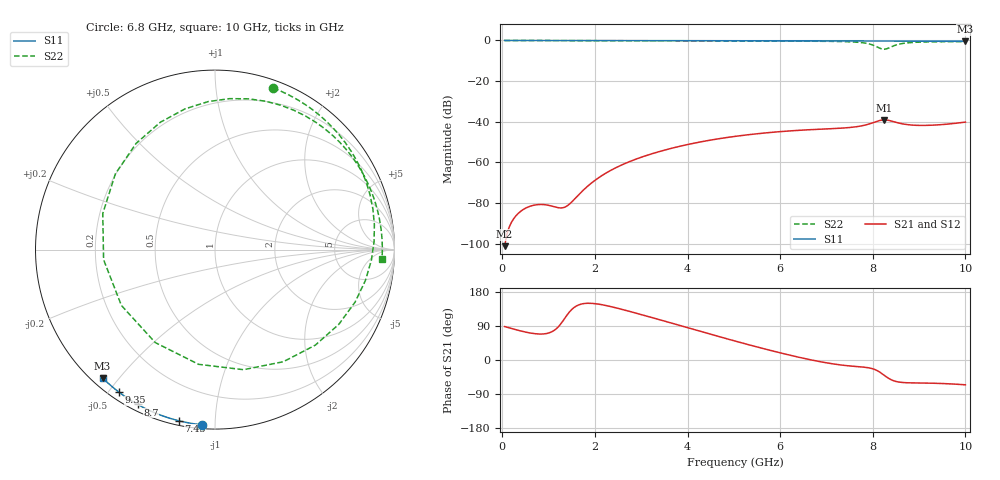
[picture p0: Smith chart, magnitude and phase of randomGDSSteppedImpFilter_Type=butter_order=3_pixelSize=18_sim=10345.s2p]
! freq	dB(S11)	phase(S11)	dB(S12)	phase(S12)
!  dB(S21)	phase(S21)	dB(S22)	phase(S22)
!S-par simulation data
#  GHz  S  DB  R 50
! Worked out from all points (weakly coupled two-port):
!   200 points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, 50 MHz to 10 GHz, reference 50 ohm
!   highest |S21| = -39.10 dB at 8.25 GHz (marker M1); lowest = -101.3 dB at 50 MHz (marker M2)
!   lowest |S11| = -0.4 dB at 10 GHz (marker M3), VSWR 39.12, Z = 1.54 - j22.6 ohm
!   |S11| at or under -10 dB: nowhere
!   |S22| runs from -4.3 to 0.0 dB; largest |S21 - S12| = 0
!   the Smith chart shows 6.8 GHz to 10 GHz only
!   S11 on the Smith chart (normalised r, x): 6.8 GHz: 0.02, -0.93; 7.45 GHz: 0.02, -0.81; 8.7 GHz: 0.03, -0.62; 9.35 GHz: 0.03, -0.53; 10 GHz: 0.03, -0.45
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0.05  -0.00 -0.8  -101.26 88.3  -101.26 88.3  -0.00 -2.8
0.8  -0.02 -12.1  -80.76 68.5  -80.76 68.5  -0.06 -43.8
1.45  -0.03 -21.7  -80.55 126.7  -80.55 126.7  -0.09 -76.8
1.75  -0.03 -26.2  -73.66 148.7  -73.66 148.7  -0.11 -91.0
2.45  -0.05 -36.3  -62.67 137.8  -62.67 137.8  -0.13 -121.6
3.4  -0.07 -49.8  -54.63 106.2  -54.63 106.2  -0.17 -158.9
4.2  -0.09 -60.8  -50.29 78.5  -50.29 78.5  -0.20 171.8
5.05  -0.11 -72.1  -47.14 49.2  -47.14 49.2  -0.24 141.1
5.95  -0.14 -83.6  -44.97 20.4  -44.97 20.4  -0.30 106.9
6.7  -0.18 -92.9  -43.86 -0.6  -43.86 -0.6  -0.37 74.9
6.8  -0.18 -94.1  -43.75 -3.0  -43.75 -3.0  -0.38 70.2
7.45  -0.22 -102.0  -42.95 -15.1  -42.95 -15.1  -0.61 32.1
7.7  -0.24 -104.9  -42.28 -17.7  -42.28 -17.7  -0.93 9.0
7.9  -0.25 -107.3  -41.26 -20.4  -41.26 -20.4  -1.58 -20.6
8.1  -0.27 -109.6  -39.73 -28.3  -39.73 -28.3  -3.25 -76.6
8.25  -0.28 -111.3  -39.10 -40.6  -39.10 -40.6  -4.33 -149.2
8.35  -0.29 -112.5  -39.37 -49.0  -39.37 -49.0  -3.65 162.2
8.5  -0.30 -114.2  -40.29 -56.6  -40.29 -56.6  -2.25 113.2
8.7  -0.32 -116.5  -41.28 -59.9  -41.28 -59.9  -1.30 77.4
9  -0.34 -119.9  -41.81 -60.7  -41.81 -60.7  -0.82 47.8
9.35  -0.38 -123.9  -41.63 -61.5  -41.63 -61.5  -0.66 25.8
10  -0.44 -131.2  -40.19 -65.5  -40.19 -65.5  -0.61 -3.4
